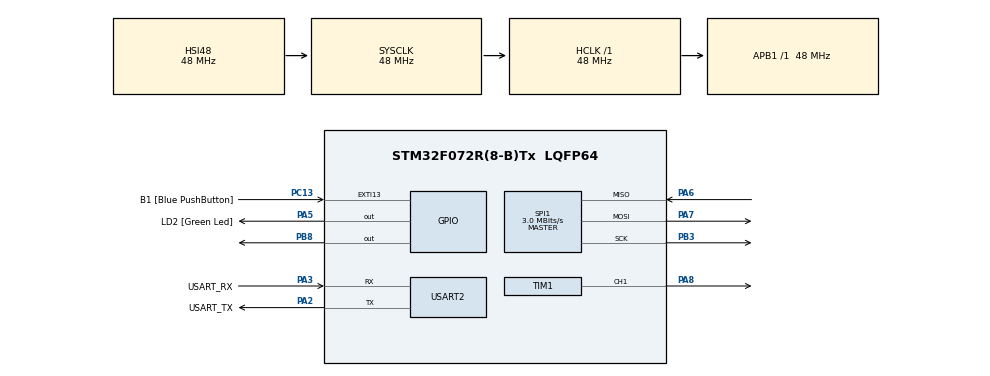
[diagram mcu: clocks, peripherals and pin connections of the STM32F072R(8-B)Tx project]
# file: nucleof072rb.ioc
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Mcu.Family=STM32F0
Mcu.Name=STM32F072R(8-B)Tx
Mcu.Package=LQFP64
PA13.GPIO_Label=TMS
PA13.Mode=Serial_Wire
PA13.Signal=SYS_SWDIO
PA14.GPIO_Label=TCK
PA14.Mode=Serial_Wire
PA14.Signal=SYS_SWCLK
PA2.GPIO_Label=USART_TX
PA2.GPIO_Mode=GPIO_MODE_AF_PP
PA2.GPIO_PuPd=GPIO_NOPULL
PA2.GPIO_Speed=GPIO_SPEED_FREQ_LOW
PA2.Mode=Asynchronous
PA2.Signal=USART2_TX
PA3.GPIO_Label=USART_RX
PA3.GPIO_Mode=GPIO_MODE_AF_PP
PA3.GPIO_PuPd=GPIO_NOPULL
PA3.GPIO_Speed=GPIO_SPEED_FREQ_LOW
PA3.Mode=Asynchronous
PA3.Signal=USART2_RX
PA5.GPIO_Label=LD2 [Green Led]
PA5.GPIO_Mode=GPIO_MODE_OUTPUT_PP
PA5.GPIO_PuPd=GPIO_NOPULL
PA5.GPIO_Speed=GPIO_SPEED_FREQ_LOW
PA5.Signal=GPIO_Output
PA6.Mode=Full_Duplex_Master
PA6.Signal=SPI1_MISO
PA7.Mode=Full_Duplex_Master
PA7.Signal=SPI1_MOSI
PA8.Signal=S_TIM1_CH1
PB3.Mode=Full_Duplex_Master
PB3.Signal=SPI1_SCK
PB8.Signal=GPIO_Output
PC13.GPIO_Label=B1 [Blue PushButton]
PC13.GPIO_ModeDefaultEXTI=GPIO_MODE_IT_FALLING
PC13.Signal=GPXTI13
PC14-OSC32_IN.Mode=LSE-External-Oscillator
PC14-OSC32_IN.Signal=RCC_OSC32_IN
PC15-OSC32_OUT.Mode=LSE-External-Oscillator
PC15-OSC32_OUT.Signal=RCC_OSC32_OUT
PF0-OSC_IN.Mode=HSE-External-Clock-Source
PF0-OSC_IN.Signal=RCC_OSC_IN
PF1-OSC_OUT.Signal=RCC_OSC_OUT
ProjectManager.HeapSize=0x200
ProjectManager.StackSize=0x400
ProjectManager.TargetToolchain=STM32CubeIDE
RCC.AHBFreq_Value=48000000
RCC.APB1Freq_Value=48000000
RCC.APB1TimFreq_Value=48000000
RCC.FLatency-AdvancedSettings=FLASH_LATENCY_1
RCC.HCLKFreq_Value=48000000
RCC.PLLDivider=RCC_PREDIV_DIV2
RCC.PLLMUL=RCC_PLL_MUL12
RCC.PREFETCH_ENABLE-AdvancedSettings=1
RCC.SYSCLKFreq_VALUE=48000000
RCC.SYSCLKSource=RCC_SYSCLKSOURCE_HSI48
SH.S_TIM1_CH1.0=TIM1_CH1,PWM Generation1 CH1
SPI1.BaudRatePrescaler=SPI_BAUDRATEPRESCALER_16
SPI1.CLKPhase=SPI_PHASE_2EDGE
SPI1.CLKPolarity=SPI_POLARITY_LOW
SPI1.CalculateBaudRate=3.0 MBits/s
SPI1.DataSize=SPI_DATASIZE_8BIT
SPI1.Direction=SPI_DIRECTION_2LINES
SPI1.FirstBit=SPI_FIRSTBIT_MSB
SPI1.Mode=SPI_MODE_MASTER
SPI1.VirtualType=VM_MASTER
TIM1.Channel-PWM\ Generation1\ CH1=TIM_CHANNEL_1
TIM1.Prescaler=14
USART2.VirtualMode=VM_ASYNC
USART2.VirtualMode-Asynchronous=VM_ASYNC
VP_TIM1_VS_ClockSourceINT.Mode=Internal
board=NUCLEO-F072RB

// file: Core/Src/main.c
/* USER CODE BEGIN Header */
/**
  ******************************************************************************
  * @file           : main.c
  * @brief          : Main program body
  ******************************************************************************
  * @attention
  *
  * <h2><center>&copy; Copyright (c) 2021 STMicroelectronics.
  * All rights reserved.</center></h2>
  *
  * This software component is licensed by ST under BSD 3-Clause license,
  * the "License"; You may not use this file except in compliance with the
  * License. You may obtain a copy of the License at:
  *                        opensource.org/licenses/BSD-3-Clause
  *
  ******************************************************************************
  */
/* USER CODE END Header */
#include "main.h"
#include "spi.h"
#include "tim.h"
#include "usart.h"
#include "gpio.h"
#include <string.h>

/* USER CODE BEGIN PM */
#define BUFFER_SIZE 3
#define START_BIT 0x1
#define SGL_DIFF 0x80 //SGL, not differential, so we set that bit high
#define DATA_BITS 0x0

#define MAX_ADC_VAL 1023
#define PWM_BASE_VAL 3200
#define PWM_SCALE 3200
/* USER CODE END PM */

void SystemClock_Config(void);

int main(void)
{
  /* USER CODE BEGIN 1 */
	HAL_GPIO_WritePin(GPIOB, GPIO_PIN_8, GPIO_PIN_SET); //Init CS pin as high
	HAL_TIM_PWM_START(&htim1, TIM_CHANNEL_1); //Init timer
  /* USER CODE END 1 */

  /* MCU Configuration--------------------------------------------------------*/

  /* Reset of all peripherals, Initializes the Flash interface and the Systick. */
  HAL_Init();

  /* USER CODE BEGIN Init */
  //Buffers to store incoming/receiving data
  uint8_t txBuffer[BUFFER_SIZE] = { START_BIT, SGL_DIFF, DATA_BITS };
  uint8_t rxBuffer[BUFFER_SIZE];

  uint16_t adcVal;
  uint16_t numOnCounts;
  /* USER CODE END Init */

  /* Configure the system clock */
  SystemClock_Config();

  /* Initialize all configured peripherals */
  MX_GPIO_Init();
  MX_USART2_UART_Init();
  MX_SPI1_Init();
  MX_TIM1_Init();

  /* Infinite loop */
  /* USER CODE BEGIN WHILE */
  while (1)
  {
	  //Clear old values, bring CS pin low to initiate communication
	  memset(rxBuffer, 0, sizeof(rxBuffer));
	  HAL_GPIO_WritePin(GPIOB, GPIO_PIN_8, GPIO_PIN_RESET);

	  //SPI communication
	  HAL_SPI_TransmitReceive(&hspi1, txBuffer, rxBuffer, BUFFER_SIZE, HAL_MAX_DELAY);

	  //Bring CS pin high to signal a stop
	  HAL_GPIO_WritePin(GPIOB, GPIO_PIN_8, GPIO_PIN_SET);
    /* USER CODE END WHILE */

    /* USER CODE BEGIN 3 */

	  adc_val = rxBuffer[1] & 0x03 << 8; //Extract bottom 2 bits, these are B9 and B8
	  adc_val |= rxBuffer[2]; //Put B7-B0 into position

	  numOnCounts = ((float)adc_val/(float)MAX_ADC_VAL)*PWM_SCALE + PWM_BASE_VAL;
	  __HAL_TIM_SET_COMPARE(&htim1, TIM_CHANNEL_1, numOnCounts);

	  HAL_Delay(10);
  }
  /* USER CODE END 3 */
}

void SystemClock_Config(void)
{
  RCC_OscInitTypeDef RCC_OscInitStruct = {0};
  RCC_ClkInitTypeDef RCC_ClkInitStruct = {0};
  RCC_PeriphCLKInitTypeDef PeriphClkInit = {0};

  /** Initializes the RCC Oscillators according to the specified parameters
  * in the RCC_OscInitTypeDef structure.
  */
  RCC_OscInitStruct.OscillatorType = RCC_OSCILLATORTYPE_HSI48;
  RCC_OscInitStruct.HSI48State = RCC_HSI48_ON;
  RCC_OscInitStruct.PLL.PLLState = RCC_PLL_NONE;
  if (HAL_RCC_OscConfig(&RCC_OscInitStruct) != HAL_OK)
  {
    Error_Handler();
  }
  /** Initializes the CPU, AHB and APB buses clocks
  */
  RCC_ClkInitStruct.ClockType = RCC_CLOCKTYPE_HCLK|RCC_CLOCKTYPE_SYSCLK
                              |RCC_CLOCKTYPE_PCLK1;
  RCC_ClkInitStruct.SYSCLKSource = RCC_SYSCLKSOURCE_HSI48;
  RCC_ClkInitStruct.AHBCLKDivider = RCC_SYSCLK_DIV1;
  RCC_ClkInitStruct.APB1CLKDivider = RCC_HCLK_DIV1;

  if (HAL_RCC_ClockConfig(&RCC_ClkInitStruct, FLASH_LATENCY_1) != HAL_OK)
  {
    Error_Handler();
  }
  PeriphClkInit.PeriphClockSelection = RCC_PERIPHCLK_USART2;
  PeriphClkInit.Usart2ClockSelection = RCC_USART2CLKSOURCE_PCLK1;
  if (HAL_RCCEx_PeriphCLKConfig(&PeriphClkInit) != HAL_OK)
  {
    Error_Handler();
  }
}

void Error_Handler(void)
{
  __disable_irq();
  while (1)
  {
  }
}

/************************ (C) COPYRIGHT STMicroelectronics *****END OF FILE****/
